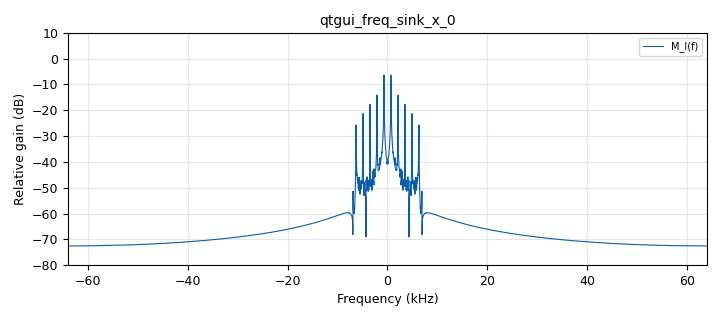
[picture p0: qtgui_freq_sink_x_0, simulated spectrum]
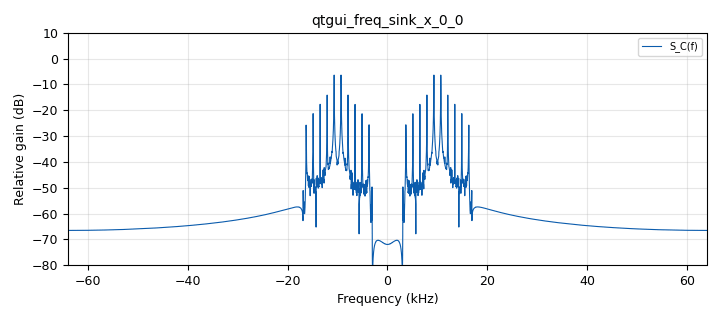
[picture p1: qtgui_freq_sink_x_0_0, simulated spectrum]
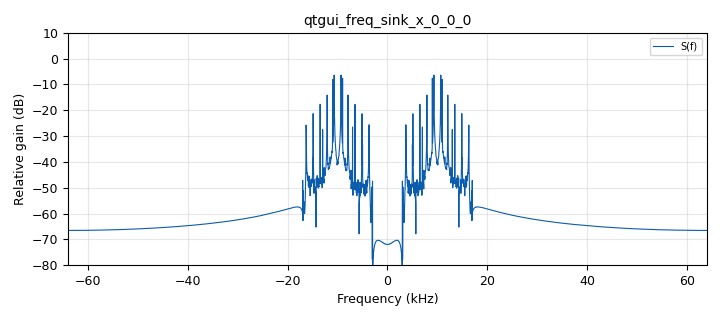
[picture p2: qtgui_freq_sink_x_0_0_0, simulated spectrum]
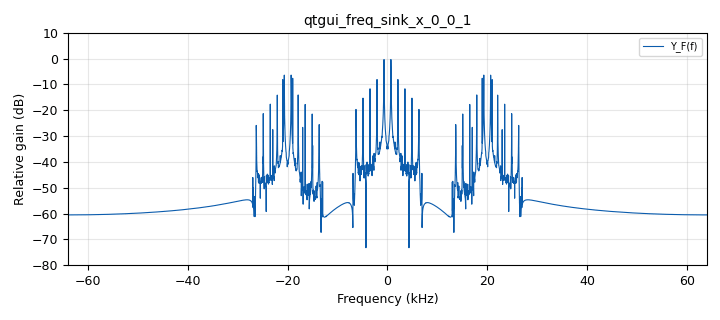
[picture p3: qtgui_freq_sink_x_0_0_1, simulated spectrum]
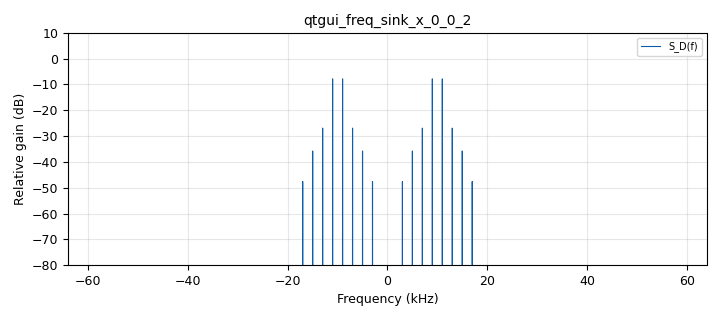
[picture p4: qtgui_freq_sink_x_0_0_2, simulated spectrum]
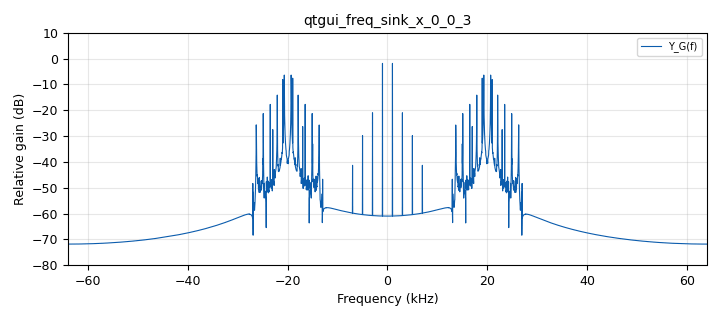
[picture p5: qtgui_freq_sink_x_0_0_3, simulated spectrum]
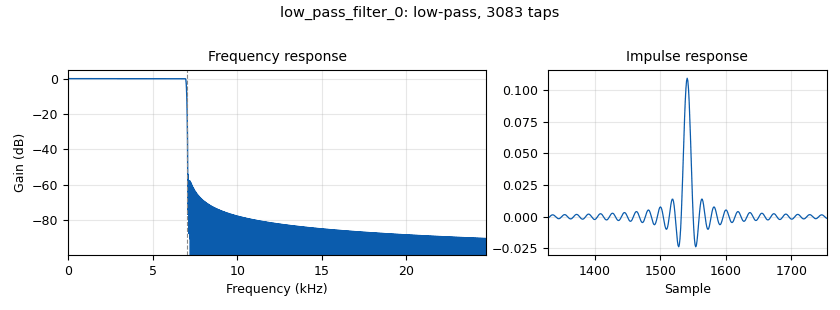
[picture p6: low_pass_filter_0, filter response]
<?xml version='1.0' encoding='utf-8'?>
<?grc format='1' created='3.7.9'?>
<flow_graph>
<block>
<key>options</key>
<param><key>id</key><value>top_block</value></param>
<param><key>category</key><value>Custom</value></param>
<param><key>generate_options</key><value>qt_gui</value></param>
</block>
<block>
<key>variable</key>
<param><key>id</key><value>Ymin</value></param>
<param><key>value</key><value>-80</value></param>
</block>
<block>
<key>variable</key>
<param><key>id</key><value>samp_rate</value></param>
<param><key>value</key><value>128000</value></param>
</block>
<block>
<key>qtgui_tab_widget</key>
<param><key>id</key><value>aba</value></param>
<param><key>label0</key><value>A</value></param>
<param><key>label1</key><value>B</value></param>
<param><key>label2</key><value>C</value></param>
<param><key>label3</key><value>D</value></param>
<param><key>label4</key><value>E</value></param>
<param><key>label5</key><value>F</value></param>
<param><key>label6</key><value>G</value></param>
<param><key>label7</key><value>H</value></param>
<param><key>label8</key><value>I</value></param>
<param><key>num_tabs</key><value>9</value></param>
</block>
<block>
<key>analog_sig_source_x</key>
<param><key>id</key><value>analog_sig_source_x_0</value></param>
<param><key>amp</key><value>2</value></param>
<param><key>freq</key><value>10000</value></param>
<param><key>offset</key><value>0</value></param>
<param><key>type</key><value>float</value></param>
<param><key>samp_rate</key><value>samp_rate</value></param>
<param><key>waveform</key><value>analog.GR_COS_WAVE</value></param>
</block>
<block>
<key>analog_sig_source_x</key>
<param><key>id</key><value>analog_sig_source_x_0_0</value></param>
<param><key>amp</key><value>2</value></param>
<param><key>freq</key><value>10000</value></param>
<param><key>offset</key><value>0</value></param>
<param><key>type</key><value>float</value></param>
<param><key>samp_rate</key><value>samp_rate</value></param>
<param><key>waveform</key><value>analog.GR_COS_WAVE</value></param>
</block>
<block>
<key>analog_sig_source_x</key>
<param><key>id</key><value>analog_sig_source_x_1</value></param>
<param><key>amp</key><value>2</value></param>
<param><key>freq</key><value>10000</value></param>
<param><key>offset</key><value>0</value></param>
<param><key>type</key><value>float</value></param>
<param><key>samp_rate</key><value>samp_rate</value></param>
<param><key>waveform</key><value>analog.GR_SIN_WAVE</value></param>
</block>
<block>
<key>analog_sig_source_x</key>
<param><key>id</key><value>analog_sig_source_x_1_0</value></param>
<param><key>amp</key><value>2</value></param>
<param><key>freq</key><value>10000</value></param>
<param><key>offset</key><value>0</value></param>
<param><key>type</key><value>float</value></param>
<param><key>samp_rate</key><value>samp_rate</value></param>
<param><key>waveform</key><value>analog.GR_SIN_WAVE</value></param>
</block>
<block>
<key>analog_sig_source_x</key>
<param><key>id</key><value>analog_sig_source_x_1_1</value></param>
<param><key>amp</key><value>2</value></param>
<param><key>freq</key><value>1000</value></param>
<param><key>offset</key><value>-1</value></param>
<param><key>type</key><value>float</value></param>
<param><key>samp_rate</key><value>samp_rate</value></param>
<param><key>waveform</key><value>analog.GR_TRI_WAVE</value></param>
</block>
<block>
<key>analog_sig_source_x</key>
<param><key>id</key><value>analog_sig_source_x_1_2</value></param>
<param><key>amp</key><value>2</value></param>
<param><key>freq</key><value>700</value></param>
<param><key>offset</key><value>-1</value></param>
<param><key>type</key><value>float</value></param>
<param><key>samp_rate</key><value>samp_rate</value></param>
<param><key>waveform</key><value>analog.GR_SQR_WAVE</value></param>
</block>
<block>
<key>blocks_add_xx</key>
<param><key>id</key><value>blocks_add_xx_0</value></param>
<param><key>type</key><value>float</value></param>
</block>
<block>
<key>blocks_multiply_xx</key>
<param><key>id</key><value>blocks_multiply_xx_0</value></param>
<param><key>type</key><value>float</value></param>
</block>
<block>
<key>blocks_multiply_xx</key>
<param><key>id</key><value>blocks_multiply_xx_0_0</value></param>
<param><key>type</key><value>float</value></param>
</block>
<block>
<key>blocks_multiply_xx</key>
<param><key>id</key><value>blocks_multiply_xx_0_0_0</value></param>
<param><key>type</key><value>float</value></param>
</block>
<block>
<key>blocks_multiply_xx</key>
<param><key>id</key><value>blocks_multiply_xx_0_1</value></param>
<param><key>type</key><value>float</value></param>
</block>
<block>
<key>low_pass_filter</key>
<param><key>id</key><value>low_pass_filter_0</value></param>
<param><key>cutoff_freq</key><value>7000</value></param>
<param><key>decim</key><value>1</value></param>
<param><key>type</key><value>fir_filter_fff</value></param>
<param><key>gain</key><value>1</value></param>
<param><key>samp_rate</key><value>samp_rate</value></param>
<param><key>width</key><value>100</value></param>
<param><key>win</key><value>firdes.WIN_HAMMING</value></param>
</block>
<block>
<key>low_pass_filter</key>
<param><key>id</key><value>low_pass_filter_0_0</value></param>
<param><key>cutoff_freq</key><value>7000</value></param>
<param><key>decim</key><value>1</value></param>
<param><key>type</key><value>fir_filter_fff</value></param>
<param><key>gain</key><value>1</value></param>
<param><key>samp_rate</key><value>samp_rate</value></param>
<param><key>width</key><value>100</value></param>
<param><key>win</key><value>firdes.WIN_HAMMING</value></param>
</block>
<block>
<key>low_pass_filter</key>
<param><key>id</key><value>low_pass_filter_0_0_0</value></param>
<param><key>cutoff_freq</key><value>7000</value></param>
<param><key>decim</key><value>1</value></param>
<param><key>type</key><value>fir_filter_fff</value></param>
<param><key>gain</key><value>1</value></param>
<param><key>samp_rate</key><value>samp_rate</value></param>
<param><key>width</key><value>100</value></param>
<param><key>win</key><value>firdes.WIN_HAMMING</value></param>
</block>
<block>
<key>low_pass_filter</key>
<param><key>id</key><value>low_pass_filter_0_1</value></param>
<param><key>cutoff_freq</key><value>7000</value></param>
<param><key>decim</key><value>1</value></param>
<param><key>type</key><value>fir_filter_fff</value></param>
<param><key>gain</key><value>1</value></param>
<param><key>samp_rate</key><value>samp_rate</value></param>
<param><key>width</key><value>100</value></param>
<param><key>win</key><value>firdes.WIN_HAMMING</value></param>
</block>
<block>
<key>qtgui_freq_sink_x</key>
<param><key>id</key><value>qtgui_freq_sink_x_0</value></param>
<param><key>bw</key><value>samp_rate</value></param>
<param><key>fc</key><value>0</value></param>
<param><key>ctrlpanel</key><value>True</value></param>
<param><key>fftsize</key><value>4096</value></param>
<param><key>gui_hint</key><value>aba@0</value></param>
<param><key>grid</key><value>True</value></param>
<param><key>color1</key><value>"dark red"</value></param>
<param><key>label1</key><value>M_I(f)</value></param>
<param><key>showports</key><value>True</value></param>
<param><key>type</key><value>float</value></param>
<param><key>wintype</key><value>firdes.WIN_RECTANGULAR</value></param>
<param><key>ymin</key><value>Ymin</value></param>
</block>
<block>
<key>qtgui_freq_sink_x</key>
<param><key>id</key><value>qtgui_freq_sink_x_0_0</value></param>
<param><key>bw</key><value>samp_rate</value></param>
<param><key>fc</key><value>0</value></param>
<param><key>ctrlpanel</key><value>True</value></param>
<param><key>fftsize</key><value>4096</value></param>
<param><key>gui_hint</key><value>aba@2</value></param>
<param><key>grid</key><value>True</value></param>
<param><key>color1</key><value>"red"</value></param>
<param><key>label1</key><value>S_C(f)</value></param>
<param><key>showports</key><value>True</value></param>
<param><key>type</key><value>float</value></param>
<param><key>wintype</key><value>firdes.WIN_RECTANGULAR</value></param>
<param><key>ymin</key><value>Ymin</value></param>
</block>
<block>
<key>qtgui_freq_sink_x</key>
<param><key>id</key><value>qtgui_freq_sink_x_0_0_0</value></param>
<param><key>bw</key><value>samp_rate</value></param>
<param><key>fc</key><value>0</value></param>
<param><key>ctrlpanel</key><value>True</value></param>
<param><key>fftsize</key><value>4096</value></param>
<param><key>gui_hint</key><value>aba@4</value></param>
<param><key>grid</key><value>True</value></param>
<param><key>color1</key><value>"dark green"</value></param>
<param><key>label1</key><value>S(f)</value></param>
<param><key>showports</key><value>True</value></param>
<param><key>type</key><value>float</value></param>
<param><key>wintype</key><value>firdes.WIN_RECTANGULAR</value></param>
<param><key>ymin</key><value>Ymin</value></param>
</block>
<block>
<key>qtgui_freq_sink_x</key>
<param><key>id</key><value>qtgui_freq_sink_x_0_0_1</value></param>
<param><key>bw</key><value>samp_rate</value></param>
<param><key>fc</key><value>0</value></param>
<param><key>ctrlpanel</key><value>True</value></param>
<param><key>fftsize</key><value>4096</value></param>
<param><key>gui_hint</key><value>aba@5</value></param>
<param><key>grid</key><value>True</value></param>
<param><key>color1</key><value>"red"</value></param>
<param><key>label1</key><value>Y_F(f)</value></param>
<param><key>showports</key><value>True</value></param>
<param><key>type</key><value>float</value></param>
<param><key>wintype</key><value>firdes.WIN_RECTANGULAR</value></param>
<param><key>ymin</key><value>Ymin</value></param>
</block>
<block>
<key>qtgui_freq_sink_x</key>
<param><key>id</key><value>qtgui_freq_sink_x_0_0_2</value></param>
<param><key>bw</key><value>samp_rate</value></param>
<param><key>fc</key><value>0</value></param>
<param><key>ctrlpanel</key><value>True</value></param>
<param><key>fftsize</key><value>4096</value></param>
<param><key>gui_hint</key><value>aba@3</value></param>
<param><key>grid</key><value>True</value></param>
<param><key>label1</key><value>S_D(f)</value></param>
<param><key>showports</key><value>True</value></param>
<param><key>type</key><value>float</value></param>
<param><key>wintype</key><value>firdes.WIN_RECTANGULAR</value></param>
<param><key>ymin</key><value>Ymin</value></param>
</block>
<block>
<key>qtgui_freq_sink_x</key>
<param><key>id</key><value>qtgui_freq_sink_x_0_0_3</value></param>
<param><key>bw</key><value>samp_rate</value></param>
<param><key>fc</key><value>0</value></param>
<param><key>ctrlpanel</key><value>True</value></param>
<param><key>fftsize</key><value>4096</value></param>
<param><key>gui_hint</key><value>aba@6</value></param>
<param><key>grid</key><value>True</value></param>
<param><key>label1</key><value>Y_G(f)</value></param>
<param><key>showports</key><value>True</value></param>
<param><key>type</key><value>float</value></param>
<param><key>wintype</key><value>firdes.WIN_RECTANGULAR</value></param>
<param><key>ymin</key><value>Ymin</value></param>
</block>
<block>
<key>qtgui_freq_sink_x</key>
<param><key>id</key><value>qtgui_freq_sink_x_0_0_4</value></param>
<param><key>bw</key><value>samp_rate</value></param>
<param><key>fc</key><value>0</value></param>
<param><key>ctrlpanel</key><value>True</value></param>
<param><key>fftsize</key><value>4096</value></param>
<param><key>gui_hint</key><value>aba@7</value></param>
<param><key>grid</key><value>True</value></param>
<param><key>color1</key><value>"dark red"</value></param>
<param><key>label1</key><value>M_I(f)</value></param>
<param><key>showports</key><value>True</value></param>
<param><key>type</key><value>float</value></param>
<param><key>wintype</key><value>firdes.WIN_RECTANGULAR</value></param>
<param><key>ymin</key><value>Ymin</value></param>
</block>
<block>
<key>qtgui_freq_sink_x</key>
<param><key>id</key><value>qtgui_freq_sink_x_0_0_4_0</value></param>
<param><key>bw</key><value>samp_rate</value></param>
<param><key>fc</key><value>0</value></param>
<param><key>ctrlpanel</key><value>True</value></param>
<param><key>fftsize</key><value>4096</value></param>
<param><key>gui_hint</key><value>aba@8</value></param>
<param><key>grid</key><value>True</value></param>
<param><key>color1</key><value>"dark blue"</value></param>
<param><key>label1</key><value>M_Q(f)</value></param>
<param><key>showports</key><value>True</value></param>
<param><key>type</key><value>float</value></param>
<param><key>wintype</key><value>firdes.WIN_RECTANGULAR</value></param>
<param><key>ymin</key><value>Ymin</value></param>
</block>
<block>
<key>qtgui_freq_sink_x</key>
<param><key>id</key><value>qtgui_freq_sink_x_0_0_5</value></param>
<param><key>bw</key><value>samp_rate</value></param>
<param><key>fc</key><value>0</value></param>
<param><key>ctrlpanel</key><value>True</value></param>
<param><key>fftsize</key><value>4096</value></param>
<param><key>gui_hint</key><value>aba@1</value></param>
<param><key>grid</key><value>True</value></param>
<param><key>color1</key><value>"dark blue"</value></param>
<param><key>label1</key><value>M_Q(f)</value></param>
<param><key>showports</key><value>True</value></param>
<param><key>type</key><value>float</value></param>
<param><key>wintype</key><value>firdes.WIN_RECTANGULAR</value></param>
<param><key>ymin</key><value>Ymin</value></param>
</block>
<connection><source_block_id>analog_sig_source_x_0</source_block_id><sink_block_id>blocks_multiply_xx_0</sink_block_id><source_key>0</source_key><sink_key>0</sink_key></connection>
<connection><source_block_id>analog_sig_source_x_0_0</source_block_id><sink_block_id>blocks_multiply_xx_0_1</sink_block_id><source_key>0</source_key><sink_key>0</sink_key></connection>
<connection><source_block_id>analog_sig_source_x_1</source_block_id><sink_block_id>blocks_multiply_xx_0_0</sink_block_id><source_key>0</source_key><sink_key>1</sink_key></connection>
<connection><source_block_id>analog_sig_source_x_1_0</source_block_id><sink_block_id>blocks_multiply_xx_0_0_0</sink_block_id><source_key>0</source_key><sink_key>1</sink_key></connection>
<connection><source_block_id>analog_sig_source_x_1_1</source_block_id><sink_block_id>low_pass_filter_0_0_0</sink_block_id><source_key>0</source_key><sink_key>0</sink_key></connection>
<connection><source_block_id>analog_sig_source_x_1_2</source_block_id><sink_block_id>low_pass_filter_0_1</sink_block_id><source_key>0</source_key><sink_key>0</sink_key></connection>
<connection><source_block_id>blocks_add_xx_0</source_block_id><sink_block_id>blocks_multiply_xx_0_0_0</sink_block_id><source_key>0</source_key><sink_key>0</sink_key></connection>
<connection><source_block_id>blocks_add_xx_0</source_block_id><sink_block_id>blocks_multiply_xx_0_1</sink_block_id><source_key>0</source_key><sink_key>1</sink_key></connection>
<connection><source_block_id>blocks_add_xx_0</source_block_id><sink_block_id>qtgui_freq_sink_x_0_0_0</sink_block_id><source_key>0</source_key><sink_key>0</sink_key></connection>
<connection><source_block_id>blocks_multiply_xx_0</source_block_id><sink_block_id>blocks_add_xx_0</sink_block_id><source_key>0</source_key><sink_key>0</sink_key></connection>
<connection><source_block_id>blocks_multiply_xx_0</source_block_id><sink_block_id>qtgui_freq_sink_x_0_0</sink_block_id><source_key>0</source_key><sink_key>0</sink_key></connection>
<connection><source_block_id>blocks_multiply_xx_0_0</source_block_id><sink_block_id>blocks_add_xx_0</sink_block_id><source_key>0</source_key><sink_key>1</sink_key></connection>
<connection><source_block_id>blocks_multiply_xx_0_0</source_block_id><sink_block_id>qtgui_freq_sink_x_0_0_2</sink_block_id><source_key>0</source_key><sink_key>0</sink_key></connection>
<connection><source_block_id>blocks_multiply_xx_0_0_0</source_block_id><sink_block_id>low_pass_filter_0_0</sink_block_id><source_key>0</source_key><sink_key>0</sink_key></connection>
<connection><source_block_id>blocks_multiply_xx_0_0_0</source_block_id><sink_block_id>qtgui_freq_sink_x_0_0_3</sink_block_id><source_key>0</source_key><sink_key>0</sink_key></connection>
<connection><source_block_id>blocks_multiply_xx_0_1</source_block_id><sink_block_id>low_pass_filter_0</sink_block_id><source_key>0</source_key><sink_key>0</sink_key></connection>
<connection><source_block_id>blocks_multiply_xx_0_1</source_block_id><sink_block_id>qtgui_freq_sink_x_0_0_1</sink_block_id><source_key>0</source_key><sink_key>0</sink_key></connection>
<connection><source_block_id>low_pass_filter_0</source_block_id><sink_block_id>qtgui_freq_sink_x_0_0_4</sink_block_id><source_key>0</source_key><sink_key>0</sink_key></connection>
<connection><source_block_id>low_pass_filter_0_0</source_block_id><sink_block_id>qtgui_freq_sink_x_0_0_4_0</sink_block_id><source_key>0</source_key><sink_key>0</sink_key></connection>
<connection><source_block_id>low_pass_filter_0_0_0</source_block_id><sink_block_id>blocks_multiply_xx_0_0</sink_block_id><source_key>0</source_key><sink_key>0</sink_key></connection>
<connection><source_block_id>low_pass_filter_0_0_0</source_block_id><sink_block_id>qtgui_freq_sink_x_0_0_5</sink_block_id><source_key>0</source_key><sink_key>0</sink_key></connection>
<connection><source_block_id>low_pass_filter_0_1</source_block_id><sink_block_id>blocks_multiply_xx_0</sink_block_id><source_key>0</source_key><sink_key>1</sink_key></connection>
<connection><source_block_id>low_pass_filter_0_1</source_block_id><sink_block_id>qtgui_freq_sink_x_0</sink_block_id><source_key>0</source_key><sink_key>0</sink_key></connection>
</flow_graph>
